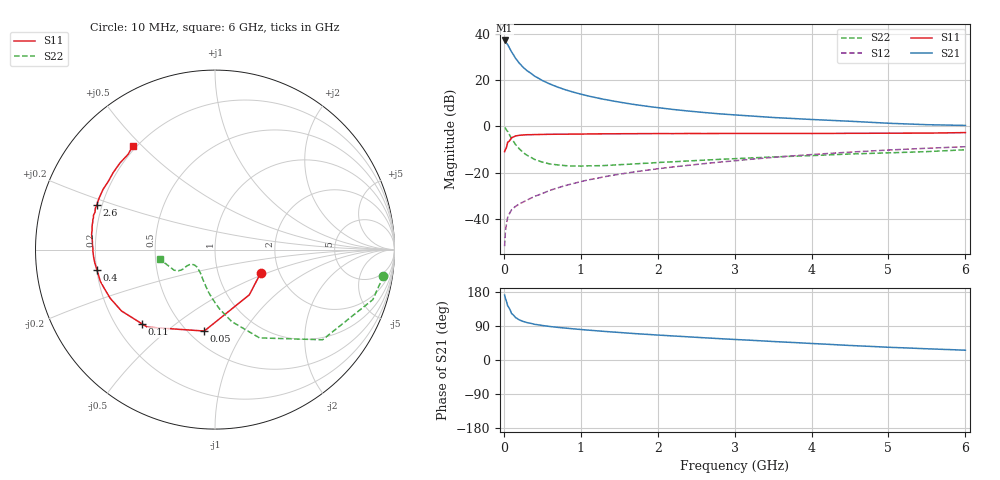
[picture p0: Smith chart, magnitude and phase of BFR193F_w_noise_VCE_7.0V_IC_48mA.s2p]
! Infineon Technologies  Discrete & RF Semiconductors
! BFR193F
! VCE =  7.0 V,  IC =  48 mA
! Common Emitter S-Parameters:  Jan 2017
# GHz  S  MA  R  50
!  f  S11  S21  S12  S22
! GHz  MAG  ANG  MAG  ANG  MAG  ANG  MAG  ANG
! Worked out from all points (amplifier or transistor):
!   77 points, 10 MHz to 6 GHz, reference 50 ohm
!   highest |S21| = 37.1 dB at 10 MHz (marker M1)
!   |S21| within 3 dB of that: start of sweep to 69.51 MHz
!   unconditionally stable (mu >= 1): 876.1 MHz to 2.559 GHz
!   at 130 MHz: K = 0.46, MSG = 32.9 dB, |S12| = -35.1 dB
!   at 2.2 GHz: K = 1.02, MAG = 11.6 dB, |S12| = -17.5 dB
!   at 6 GHz: K = 0.86, MSG = 4.6 dB, |S12| = -8.7 dB
!   lowest NFmin = 1.45 dB at 450 MHz
!   S11 on the Smith chart (normalised r, x): 10 MHz: 1.60, -0.46; 50 MHz: 0.59, -0.68; 110 MHz: 0.31, -0.39; 400 MHz: 0.20, -0.08; 2.6 GHz: 0.18, +0.18; 6 GHz: 0.19, +0.47
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0.01  0.2859 -27.3  71.99 171.4  0.0026 83.5  0.9499 -8.8
0.02  0.3162 -52.7  69.42 163.1  0.0053 80.0  0.9224 -17.6
0.05  0.4576 -97.5  58.56 143.1  0.0109 66.7  0.782 -40.0
0.1  0.5734 -131.1  40.86 122.8  0.0158 54.7  0.5502 -63.3
0.11  0.5797 -134.4  38.61 121.2  0.0164 54.2  0.5206 -65.4
0.15  0.6231 -146.7  30.04 112.4  0.0187 52.3  0.4118 -76.9
0.2  0.6438 -155.1  23.39 106.0  0.0212 52.7  0.3303 -85.8
0.25  0.6545 -161.0  19.05 101.8  0.0233 54.9  0.2743 -93.0
0.3  0.6629 -164.7  16.08 98.8  0.0256 57.9  0.2396 -98.7
0.4  0.6674 -170.3  12.2 94.1  0.0309 61.5  0.1941 -108.0
0.5  0.6737 -173.7  9.831 91.1  0.0356 64.5  0.1699 -115.2
0.6  0.6776 -176.6  8.238 88.4  0.0418 66.8  0.1547 -121.5
0.7  0.6802 -179.1  7.078 86.1  0.0472 68.4  0.148 -126.3
0.9  0.6838 177.4  5.531 82.3  0.0584 70.9  0.1398 -134.6
1.1  0.689 174.4  4.544 78.8  0.0704 72.4  0.1413 -139.6
1.5  0.6962 169.6  3.364 72.7  0.093 73.1  0.1495 -146.3
2.1  0.7019 163.5  2.44 64.7  0.1277 73.2  0.1697 -149.6
2.6  0.7036 159.4  2.003 58.7  0.1572 72.4  0.1871 -149.5
3.1  0.7066 155.1  1.732 53.2  0.188 71.5  0.205 -148.7
4.1  0.7064 146.3  1.391 42.6  0.2537 67.6  0.2386 -150.6
5.1  0.7163 136.6  1.156 32.8  0.3154 62.1  0.2725 -160.1
6  0.7374 128.3  1.053 25.8  0.3653 56.9  0.3138 -170.0
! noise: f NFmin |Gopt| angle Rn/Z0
0.45  1.45  0.46  -180  0.07
0.9  1.54  0.47  -179  0.07
1.9  2.11  0.6  -164  0.09
2.4  2.42  0.62  -156  0.14
